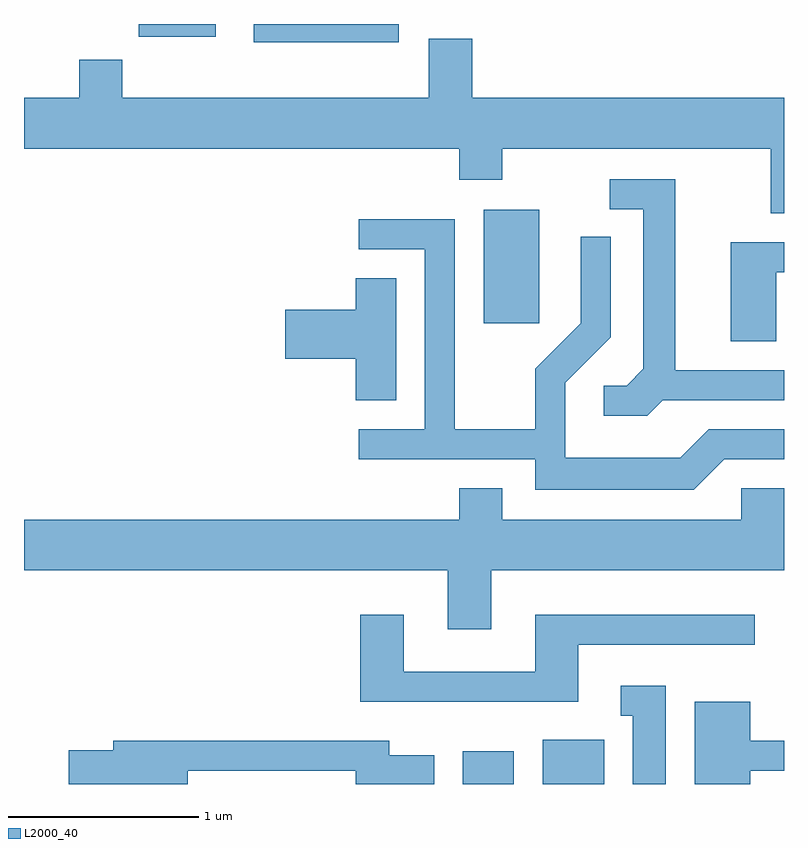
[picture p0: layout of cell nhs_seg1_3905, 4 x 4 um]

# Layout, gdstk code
import gdstk
lib = gdstk.Library(unit=1e-6, precision=1e-09)
def R(c, l, rs):  # rectangles x0, y0, x1, y1
    for r in rs: c.add(gdstk.rectangle(r[:2], r[2:], *l))
def P(c, l, *ps):  # polygons
    for p in ps: c.add(gdstk.Polygon(p, *l))
L2000_40 = (2000, 40)

nhs_seg1_3905 = lib.new_cell('nhs_seg1_3905')
R(nhs_seg1_3905, L2000_40, [(303.921,971.712,304.189,971.884), (304.341,971.712,304.664,971.944), (304.031,974.136,304.324,974.734), (302.821,975.616,303.584,975.712), (302.216,975.646,302.619,975.712)])
P(nhs_seg1_3905, L2000_40, [(305.611,975.324),(303.969,975.324),(303.969,975.634),(303.741,975.634),(303.741,975.324),(302.129,975.324),(302.129,975.524),(301.901,975.524),(301.901,975.324),(301.611,975.324),(301.611,975.056),(303.901,975.056),(303.901,974.891),(304.129,974.891),(304.129,975.056),(305.541,975.056),(305.541,974.716),(305.611,974.716)],
  [(304.972,973.731),(305.611,973.731),(305.611,973.889),(305.039,973.889),(305.039,974.894),(304.693,974.894),(304.693,974.736),(304.871,974.736),(304.871,973.897),(304.784,973.809),(304.663,973.809),(304.663,973.651),(304.892,973.651)],
  [(305.297,973.421),(305.611,973.421),(305.611,973.579),(305.214,973.579),(305.064,973.429),(304.459,973.429),(304.459,973.824),(304.699,974.064),(304.699,974.593),(304.541,974.593),(304.541,974.137),(304.301,973.897),(304.301,973.579),(303.879,973.579),(303.879,974.684),(303.373,974.684),(303.373,974.526),(303.721,974.526),(303.721,973.579),(303.373,973.579),(303.373,973.421),(304.301,973.421),(304.301,973.261),(305.137,973.261)],
  [(305.569,974.406),(305.611,974.406),(305.611,974.564),(305.331,974.564),(305.331,974.041),(305.569,974.041)],
  [(303.569,974.374),(303.356,974.374),(303.356,974.209),(302.986,974.209),(302.986,973.951),(303.356,973.951),(303.356,973.731),(303.569,973.731)],
  [(304.069,972.836),(305.611,972.836),(305.611,973.269),(305.386,973.269),(305.386,973.104),(304.129,973.104),(304.129,973.269),(303.901,973.269),(303.901,973.104),(301.611,973.104),(301.611,972.836),(303.841,972.836),(303.841,972.526),(304.069,972.526)],
  [(304.529,972.446),(305.458,972.446),(305.458,972.604),(304.301,972.604),(304.301,972.304),(303.609,972.304),(303.609,972.604),(303.381,972.604),(303.381,972.146),(304.529,972.146)],
  [(304.989,972.229),(304.753,972.229),(304.753,972.071),(304.816,972.071),(304.816,971.712),(304.989,971.712)],
  [(305.434,971.781),(305.611,971.781),(305.611,971.939),(305.434,971.939),(305.434,972.144),(305.141,972.144),(305.141,971.712),(305.434,971.712)],
  [(302.474,971.781),(303.356,971.781),(303.356,971.712),(303.769,971.712),(303.769,971.864),(303.534,971.864),(303.534,971.939),(302.081,971.939),(302.081,971.889),(301.846,971.889),(301.846,971.712),(302.474,971.712)])

lib.write_gds('nhs_seg1_3905.gds')
